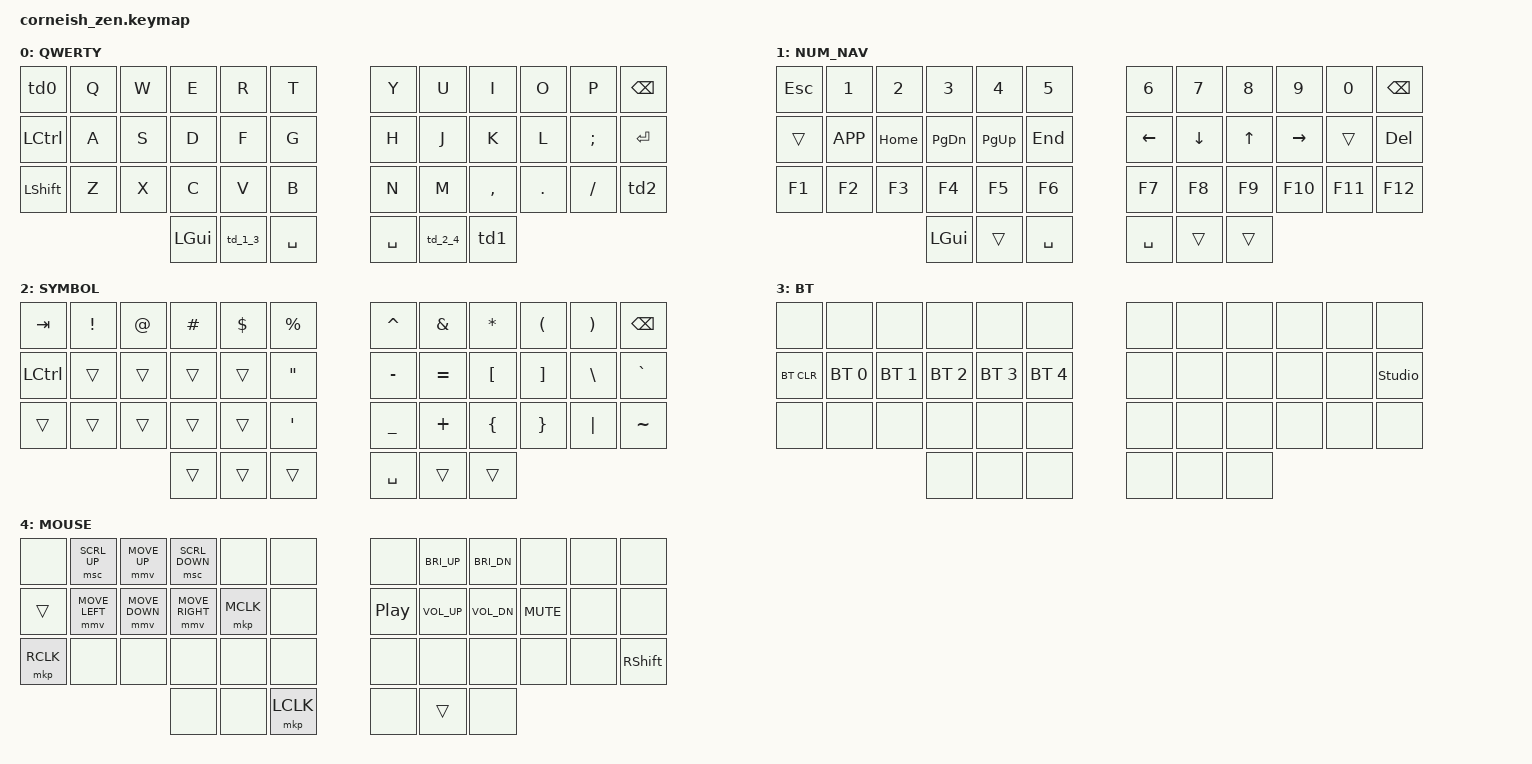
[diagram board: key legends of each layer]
#include <behaviors.dtsi>
#include <dt-bindings/zmk/keys.h>
#include <dt-bindings/zmk/bt.h>
#include <dt-bindings/zmk/pointing.h>

#undef ZMK_POINTING_DEFAULT_MOVE_VAL
#define ZMK_POINTING_DEFAULT_MOVE_VAL 1000  // default: 600
#undef ZMK_POINTING_DEFAULT_SCRL_VAL
#define ZMK_POINTING_DEFAULT_SCRL_VAL 10    // default: 10

 / {
     chosen {
         //zmk,physical-layout = &foostan_corne_6col_layout;
     };
 };

/ {
    behaviors {
        td_2_4: tap_dance_layers_2_4 {
            compatible = "zmk,behavior-tap-dance";
            #binding-cells = <0>;
            tapping-term-ms = <200>;
            bindings = <&mo 2>, <&mo 4>;
        };

        td_1_3: tap_dance_layers_1_3 {
            compatible = "zmk,behavior-tap-dance";
            #binding-cells = <0>;
            tapping-term-ms = <200>;
            bindings = <&mo 1>, <&mo 3>;
        };

        td0: tab_esc {
            compatible = "zmk,behavior-tap-dance";
            #binding-cells = <0>;
            tapping-term-ms = <200>;
            bindings = <&kp TAB>, <&kp ESC>;
        };

        td1: alt_globe {
            compatible = "zmk,behavior-tap-dance";
            #binding-cells = <0>;
            tapping-term-ms = <200>;
            bindings = <&kp RALT>, <&kp GLOBE>;
        };

        td2: esc_rshift {
            compatible = "zmk,behavior-tap-dance";
            #binding-cells = <0>;
            tapping-term-ms = <200>;
            bindings = <&kp ESC>, <&kp RSHIFT>;
        };
    };

    keymap {
        compatible = "zmk,keymap";

        default_layer {
            display-name = "QWERTY";
// --------------------------------------------------------------------------------
// |  td0 |  Q  |  W  |  E  |  R  |  T  |   |  Y  |  U   |  I  |  O  |  P  | BSPC |
// | CTRL |  A  |  S  |  D  |  F  |  G  |   |  H  |  J   |  K  |  L  |  ;  |  ENT |
// | SHFT |  Z  |  X  |  C  |  V  |  B  |   |  N  |  M   |  ,  |  .  |  /  | SHFT |
//                    | GUI | td_1_3 | SPC |   | ENT | td_2_4  | ALT |
            bindings = <
&td0     &kp Q &kp W &kp E &kp R &kp T   &kp Y &kp U  &kp I     &kp O   &kp P    &kp BSPC
&kp LCTRL &kp A &kp S &kp D &kp F &kp G   &kp H &kp J  &kp K     &kp L   &kp SEMI &kp RET
&kp LSHFT &kp Z &kp X &kp C &kp V &kp B   &kp N &kp M  &kp COMMA &kp DOT &kp FSLH &td2
               &kp LGUI &td_1_3 &kp SPACE   &kp SPACE &td_2_4 &td1
            >;
        };

        lower_layer {
            display-name = "NUM_NAV";
// -----------------------------------------------------------------------------------------
// |  ESC |  1  |  2  |  3  |  4  |  5  |   |  6  |  7  |  8  |  9  |  0  | BSPC |
// |      | APP |  HM | PG^ | PGv |  ED |   | LFT | DWN |  UP | RGT |     | DEL  |
// |  F1  |  F2 |  F3 |  F4 |  F5 |  F6 |   | F7  | F8  | F9  | F10 |F11  | F12  |
//                    | GUI |     | SPC |   | SPC |     | ALT |
            bindings = <
&kp ESC    &kp N1       &kp N2  &kp N3  &kp N4  &kp N5   &kp N6   &kp N7   &kp N8 &kp N9    &kp N0 &kp BSPC
&trans  &kp K_APP  &kp HOME  &kp PG_DN  &kp PG_UP &kp END   &kp LEFT &kp DOWN &kp UP &kp RIGHT &trans &kp DEL
&kp F1  &kp F2  &kp F3  &kp F4  &kp F5  &kp F6         &kp F7   &kp F8   &kp F9 &kp F10 &kp F11 &kp F12
                &kp LGUI     &trans       &kp SPACE      &kp SPACE  &trans   &trans
            >;
        };

        raise_layer {
            display-name = "SYMBOL";
// -----------------------------------------------------------------------------------------
// |  TAB |  !  |  @  |  #  |  $  |  %  |   |  ^  |  &  |  *  |  (  |  )  | BSPC |
// | CTRL |     |     |     |     |  "  |   |  -  |  =  |  [  |  ]  |  \  |  `   |
// |      |     |     |     |     |  '  |   |  _  |  +  |  {  |  }  | "|" |  ~   |
//                    |    |   |   |   | ENT |     | ALT |
            bindings = <
&kp  TAB   &kp EXCL &kp AT  &kp HASH &kp DLLR &kp PRCNT  &kp CARET &kp AMPS  &kp ASTRK &kp LPAR &kp RPAR &kp BSPC
&kp LCTRL  &trans   &trans  &trans   &trans   &kp DQT  &kp MINUS &kp EQUAL &kp LBKT  &kp RBKT &kp BSLH &kp GRAVE
&trans  &trans   &trans  &trans  &trans  &kp SQT  &kp UNDER &kp PLUS  &kp LBRC  &kp RBRC &kp PIPE &kp TILDE
                &trans   &trans   &trans   &kp SPACE   &trans    &trans
            >;
        };

        bt_layer {
            display-name = "BT";
// -----------------------------------------------------------------------------------------
// |      |     |     |     |     |     |   |     |     |     |     |     |      |
// | BTCLR| BT1 | BT2 | BT3 | BT4 | BT5 |   |     |     |     |     |     |Studio|
// |      |     |     |     |     |     |   |     |     |     |     |     |      |
//                    |     |     |     |   |     |     |     |
            bindings = <
&none   &none  &none  &none  &none  &none   &none   &none   &none &none    &none  &none
&bt BT_CLR &bt BT_SEL 0 &bt BT_SEL 1 &bt BT_SEL 2 &bt BT_SEL 3 &bt BT_SEL 4   &none &none &none &none &none &studio_unlock
&none   &none  &none  &none  &none  &none  &none   &none   &none &none    &none &none
                &none     &none       &none      &none  &none   &none
            >;
        };

        mouse_layer {
            display-name = "MOUSE";
// -----------------------------------------------------------------------------------------
// |      | SR^  |  M^  | SRv |     |     |   |     |BRI^ |BRIv |     |     |      |
// |      |  M<  |  Mv |  M>  | MCLK|     |   | PP  |VOLv |VOL^ |mute |     |      |
// | RCLK |      |     |      |     |     |   |     |     |     |     |     | SHFT |
//                    |     |     | LCLK |   |    |    |    |
            bindings = <
&none  &msc SCRL_UP  &mmv MOVE_UP &msc SCRL_DOWN &none  &none   &none  &kp C_BRI_UP  &kp C_BRI_DN  &none  &none  &none 
&trans  &mmv MOVE_LEFT &mmv MOVE_DOWN &mmv MOVE_RIGHT  &mkp MCLK   &none  &kp C_PP &kp C_VOL_UP &kp C_VOL_DN  &kp C_MUTE &none &none
&mkp RCLK  &none  &none &none  &none  &none   &none  &none  &none  &none &none  &kp RSHIFT
                &none  &none   &mkp LCLK   &none   &trans  &none 
            >;
        };
    };
};
